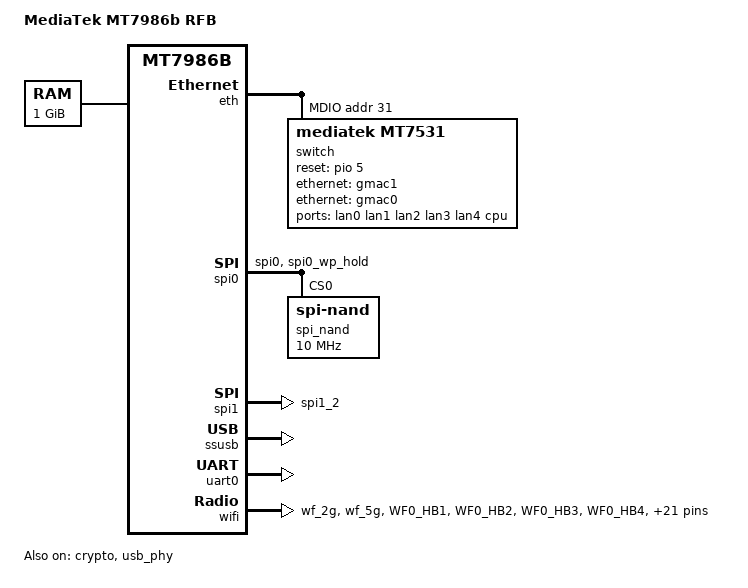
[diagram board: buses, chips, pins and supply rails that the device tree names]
// SPDX-License-Identifier: (GPL-2.0 OR MIT)
/*
 * Copyright (C) 2021 MediaTek Inc.
 * Author: Sam.Shih <sam.shih@mediatek.com>
 */

/dts-v1/;
#include "mt7986b.dtsi"

/ {
	model = "MediaTek MT7986b RFB";
	chassis-type = "embedded";
	compatible = "mediatek,mt7986b-rfb", "mediatek,mt7986b";

	aliases {
		serial0 = &uart0;
	};

	chosen {
		stdout-path = "serial0:115200n8";
	};

	memory@40000000 {
		device_type = "memory";
		reg = <0 0x40000000 0 0x40000000>;
	};
};

&crypto {
	status = "okay";
};

&eth {
	status = "okay";

	gmac0: mac@0 {
		compatible = "mediatek,eth-mac";
		reg = <0>;
		phy-mode = "2500base-x";

		fixed-link {
			speed = <2500>;
			full-duplex;
			pause;
		};
	};

	gmac1: mac@1 {
		compatible = "mediatek,eth-mac";
		reg = <1>;
		phy-mode = "rgmii";

		fixed-link {
			speed = <1000>;
			full-duplex;
			pause;
		};
	};

	mdio: mdio-bus {
		#address-cells = <1>;
		#size-cells = <0>;

		switch@0 {
			compatible = "mediatek,mt7531";
			reg = <31>;
			reset-gpios = <&pio 5 0>;

			ports {
				#address-cells = <1>;
				#size-cells = <0>;

				port@0 {
					reg = <0>;
					label = "lan0";
				};

				port@1 {
					reg = <1>;
					label = "lan1";
				};

				port@2 {
					reg = <2>;
					label = "lan2";
				};

				port@3 {
					reg = <3>;
					label = "lan3";
				};

				port@4 {
					reg = <4>;
					label = "lan4";
				};

				port@5 {
					reg = <5>;
					ethernet = <&gmac1>;
					phy-mode = "rgmii";

					fixed-link {
						speed = <1000>;
						full-duplex;
						pause;
					};
				};

				port@6 {
					reg = <6>;
					label = "cpu";
					ethernet = <&gmac0>;
					phy-mode = "2500base-x";

					fixed-link {
						speed = <2500>;
						full-duplex;
						pause;
					};
				};
			};
		};
	};
};

&pio {
	spi_flash_pins: spi-flash-pins {
		mux {
			function = "spi";
			groups = "spi0", "spi0_wp_hold";
		};
	};

	spic_pins: spic-pins {
		mux {
			function = "spi";
			groups = "spi1_2";
		};
	};

	wf_2g_5g_pins: wf-2g-5g-pins {
		mux {
			function = "wifi";
			groups = "wf_2g", "wf_5g";
		};
		conf {
			pins = "WF0_HB1", "WF0_HB2", "WF0_HB3", "WF0_HB4",
			       "WF0_HB0", "WF0_HB0_B", "WF0_HB5", "WF0_HB6",
			       "WF0_HB7", "WF0_HB8", "WF0_HB9", "WF0_HB10",
			       "WF0_TOP_CLK", "WF0_TOP_DATA", "WF1_HB1",
			       "WF1_HB2", "WF1_HB3", "WF1_HB4", "WF1_HB0",
			       "WF1_HB5", "WF1_HB6", "WF1_HB7", "WF1_HB8",
			       "WF1_TOP_CLK", "WF1_TOP_DATA";
			drive-strength = <4>;
		};
	};

	wf_dbdc_pins: wf-dbdc-pins {
		mux {
			function = "wifi";
			groups = "wf_dbdc";
		};
		conf {
			pins = "WF0_HB1", "WF0_HB2", "WF0_HB3", "WF0_HB4",
			       "WF0_HB0", "WF0_HB0_B", "WF0_HB5", "WF0_HB6",
			       "WF0_HB7", "WF0_HB8", "WF0_HB9", "WF0_HB10",
			       "WF0_TOP_CLK", "WF0_TOP_DATA";
			drive-strength = <4>;
		};
	};
};

&spi0 {
	pinctrl-names = "default";
	pinctrl-0 = <&spi_flash_pins>;
	cs-gpios = <0>, <0>;
	status = "okay";

	spi_nand: flash@0 {
		compatible = "spi-nand";
		reg = <0>;
		spi-max-frequency = <10000000>;
		spi-tx-bus-width = <4>;
		spi-rx-bus-width = <4>;
	};
};

&spi1 {
	pinctrl-names = "default";
	pinctrl-0 = <&spic_pins>;
	cs-gpios = <0>, <0>;
	status = "okay";
};

&ssusb {
	status = "okay";
};

&uart0 {
	status = "okay";
};

&usb_phy {
	status = "okay";
};

&wifi {
	status = "okay";
	pinctrl-names = "default", "dbdc";
	pinctrl-0 = <&wf_2g_5g_pins>;
	pinctrl-1 = <&wf_dbdc_pins>;
};
